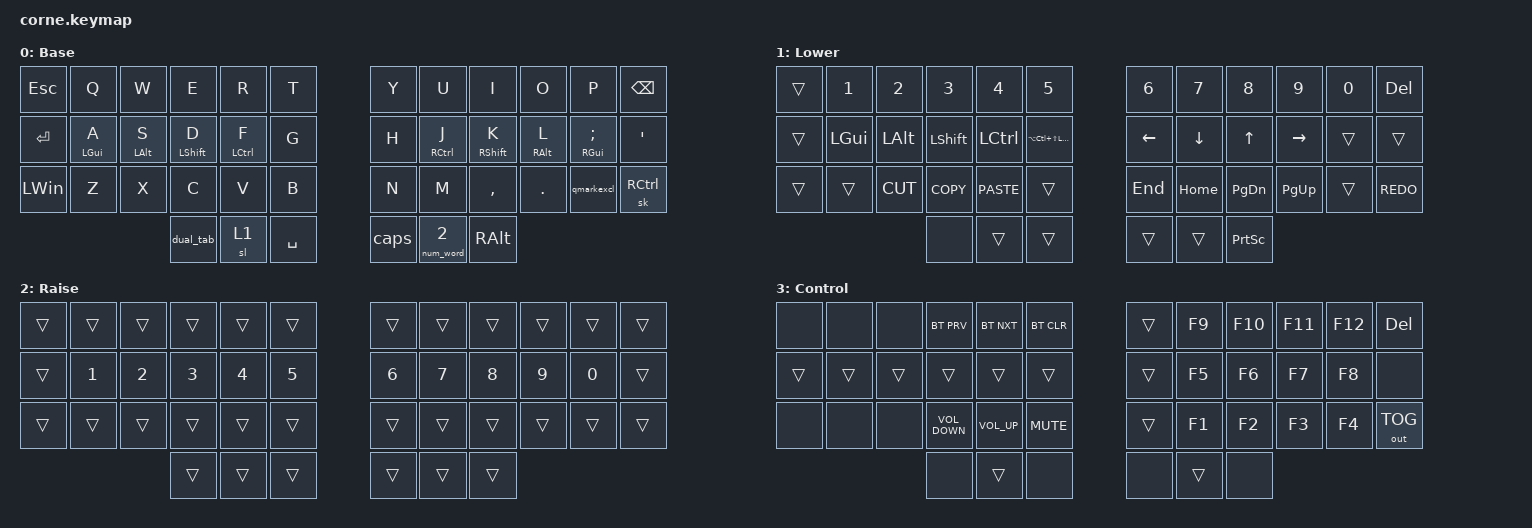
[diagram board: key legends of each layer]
/*
 * Copyright (c) 2020 The ZMK Contributors
 *
 * SPDX-License-Identifier: MIT
 */

#include <behaviors/num_word.dtsi>
#include <behaviors.dtsi>
#include <dt-bindings/zmk/bt.h>
#include <dt-bindings/zmk/keys.h>
#include <dt-bindings/zmk/outputs.h>

/ {
    behaviors {
        caps: caps {
            compatible = "zmk,behavior-tap-dance";
            label = "CAPS";
            #binding-cells = <0>;
            bindings = <&skq LEFT_SHIFT>, <&caps_word>;
        };

        dual_tab: dual_tab {
            compatible = "zmk,behavior-tap-dance";
            label = "DUAL_TAB";
            #binding-cells = <0>;
            bindings = <&kp TAB>, <&kp LS(TAB)>;
        };

        skq: skq {
            compatible = "zmk,behavior-sticky-key";
            label = "SKQ";
            bindings = <&kp>;
            #binding-cells = <1>;
            release-after-ms = <1000>;
            quick-release;
            ignore-modifiers;
        };

        qmarkexcl: qmarkexcl {
            compatible = "zmk,behavior-mod-morph";
            label = "QMARKEXCL";
            bindings = <&kp QUESTION>, <&kp EXCLAMATION>;

            #binding-cells = <0>;
            mods = <(MOD_LSFT)>;
        };

        hrml: hrml {
            compatible = "zmk,behavior-hold-tap";
            label = "HRML";
            bindings = <&kp>, <&kp>;

            #binding-cells = <2>;
            flavor = "balanced";
            tapping-term-ms = <280>;
            hold-trigger-on-release;
            require-prior-idle-ms = <150>;
            quick-tap-ms = <175>;
            hold-trigger-key-positions = <5 4 3 2 1 0 12 13 14 15 16 17 24 25 26 27 28 29 36 37 38>;
        };

        hrmr: hrmr {
            compatible = "zmk,behavior-hold-tap";
            label = "HRMR";
            bindings = <&kp>, <&kp>;

            #binding-cells = <2>;
            tapping-term-ms = <280>;
            quick-tap-ms = <175>;
            require-prior-idle-ms = <150>;
            flavor = "balanced";
            hold-trigger-key-positions = <6 7 8 9 10 11 18 19 20 21 22 23 30 31 32 33 34 35 39 40 41>;
            hold-trigger-on-release;
        };
    };

    combos {
        compatible = "zmk,combos";

        AMPERSAND_COMB {
            bindings = <&kp AMPERSAND>;
            key-positions = <21 9>;
        };

        PIPE_COMB {
            bindings = <&kp PIPE>;
            key-positions = <33 21>;
        };

        AT_COMB {
            bindings = <&kp AT>;
            key-positions = <2 14>;
        };

        GRAVE_COMB {
            bindings = <&kp GRAVE>;
            key-positions = <26 14>;
        };

        ASTERISK_COMB {
            bindings = <&kp ASTERISK>;
            key-positions = <8 20>;
        };

        SLASH_COMB {
            bindings = <&kp SLASH>;
            key-positions = <20 32>;
        };

        HASH_COMB {
            bindings = <&kp HASH>;
            key-positions = <3 15>;
        };

        BACKSLASH_COMB {
            bindings = <&kp BACKSLASH>;
            key-positions = <15 27>;
        };

        PLUS_COMB {
            bindings = <&kp PLUS>;
            key-positions = <7 19>;
        };

        MINUS_COMB {
            bindings = <&kp MINUS>;
            key-positions = <19 31>;
        };

        DOLLAR_COMB {
            bindings = <&kp DOLLAR>;
            key-positions = <4 16>;
        };

        EQUAL_COMB {
            bindings = <&kp EQUAL>;
            key-positions = <16 28>;
        };

        CARET_COMB {
            bindings = <&kp CARET>;
            key-positions = <6 18>;
        };

        UNDERSCORE_COMB {
            bindings = <&kp UNDER>;
            key-positions = <18 30>;
        };

        PERCENT_COMB {
            bindings = <&kp PERCENT>;
            key-positions = <5 17>;
        };

        TILDE_COMB {
            bindings = <&kp TILDE>;
            key-positions = <17 29>;
        };

        LEFT_PARENTHESIS_COMBO {
            bindings = <&kp LEFT_PARENTHESIS>;
            key-positions = <16 15>;
        };

        LEFT_BRACE_COMBO {
            bindings = <&kp LEFT_BRACE>;
            key-positions = <15 14>;
        };

        LEFT_BRACKET_COMBO {
            bindings = <&kp LEFT_BRACKET>;
            key-positions = <14 13>;
        };

        RIGHT_PARENTHESIS_COMBO {
            bindings = <&kp RIGHT_PARENTHESIS>;
            key-positions = <19 20>;
        };

        RIGHT_BRACE_COMBO {
            bindings = <&kp RIGHT_BRACE>;
            key-positions = <20 21>;
        };

        RIGHT_BRACKET_COMBO {
            bindings = <&kp RIGHT_BRACKET>;
            key-positions = <21 22>;
        };
    };

    keymap {
        compatible = "zmk,keymap";

        base {
            display-name = "Base";
            bindings = <
&kp ESCAPE    &kp Q             &kp W             &kp E               &kp R                 &kp T        &kp Y  &kp U                  &kp I                &kp O              &kp P                 &kp BSPC
&kp RET       &hrml LEFT_GUI A  &hrml LEFT_ALT S  &hrml LEFT_SHIFT D  &hrml LEFT_CONTROL F  &kp G        &kp H  &hrmr RIGHT_CONTROL J  &hrmr RIGHT_SHIFT K  &hrmr RIGHT_ALT L  &hrml RIGHT_GUI SEMI  &kp SQT
&kp LEFT_WIN  &kp Z             &kp X             &kp C               &kp V                 &kp B        &kp N  &kp M                  &kp COMMA            &kp DOT            &qmarkexcl            &sk RIGHT_CONTROL
                                                  &dual_tab           &sl 1                 &kp SPACE    &caps  &num_word 2            &kp RIGHT_ALT
            >;
        };

        lower {
            display-name = "Lower";
            bindings = <
&trans  &kp N1        &kp N2        &kp N3          &kp N4            &kp N5                      &kp N6          &kp N7    &kp N8           &kp N9     &kp N0  &kp DEL
&trans  &kp LEFT_GUI  &kp LEFT_ALT  &kp LEFT_SHIFT  &kp LEFT_CONTROL  &kp LA(LC(LS(LEFT_GUI)))    &kp LEFT_ARROW  &kp DOWN  &kp UP_ARROW     &kp RIGHT  &trans  &trans
&trans  &trans        &kp K_CUT     &kp K_COPY      &kp K_PASTE       &trans                      &kp END         &kp HOME  &kp PAGE_DOWN    &kp PG_UP  &trans  &kp K_REDO
                                    &none           &trans            &trans                      &trans          &trans    &kp PRINTSCREEN
            >;
        };

        raise {
            display-name = "Raise";
            bindings = <
&trans  &trans  &trans  &trans  &trans  &trans    &trans  &trans  &trans  &trans  &trans  &trans
&trans  &kp N1  &kp N2  &kp N3  &kp N4  &kp N5    &kp N6  &kp N7  &kp N8  &kp N9  &kp N0  &trans
&trans  &trans  &trans  &trans  &trans  &trans    &trans  &trans  &trans  &trans  &trans  &trans
                        &trans  &trans  &trans    &trans  &trans  &trans
            >;
        };

        control {
            display-name = "Control";
            bindings = <
&none   &none   &none   &bt BT_PRV         &bt BT_NXT       &bt BT_CLR    &trans  &kp F9  &kp F10  &kp F11  &kp F12  &kp DELETE
&trans  &trans  &trans  &trans             &trans           &trans        &trans  &kp F5  &kp F6   &kp F7   &kp F8   &none
&none   &none   &none   &kp C_VOLUME_DOWN  &kp C_VOLUME_UP  &kp C_MUTE    &trans  &kp F1  &kp F2   &kp F3   &kp F4   &out OUT_TOG
                        &none              &trans           &none         &none   &trans  &none
            >;
        };
    };

    conditional_layers {
        compatible = "zmk,conditional-layers";

        control {
            if-layers = <1 2>;
            then-layer = <3>;
        };
    };
};
